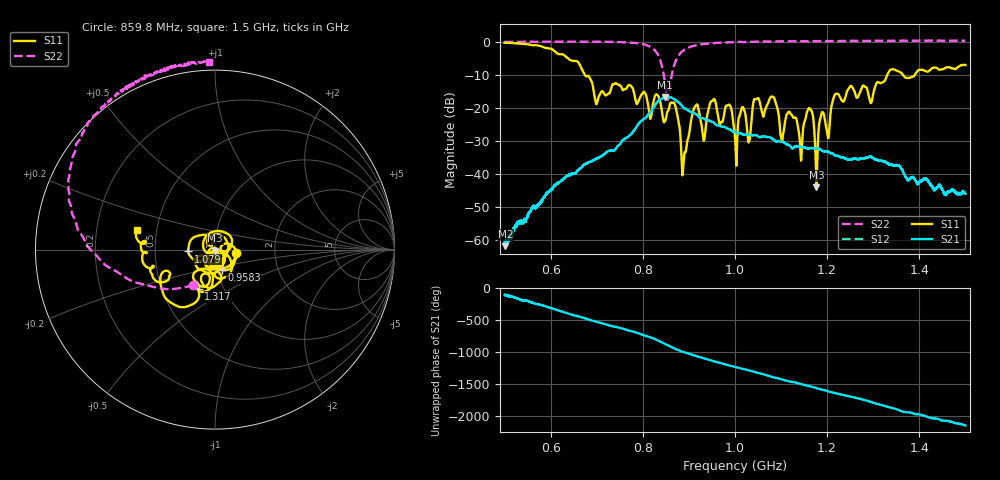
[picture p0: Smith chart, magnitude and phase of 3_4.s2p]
!Keysight Technologies,N5242B,MY48420860,A.13.80.08
!Date: Saturday, September 26, 2020 12:55:24
!Correction: S11(Full 2 Port(1,2))
!S21(Full 2 Port(1,2))
!S12(Full 2 Port(1,2))
!S22(Full 2 Port(1,2))
!S2P File: Measurements: S11, S21, S12, S22:
# Hz S  dB  R 50
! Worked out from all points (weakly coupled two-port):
!   2650 points, 500 MHz to 1.5 GHz, reference 50 ohm
!   highest |S21| = -16.74 dB at 847.7 MHz (marker M1); lowest = -61.9 dB at 501.9 MHz (marker M2)
!   lowest |S11| = -44.1 dB at 1.177 GHz (marker M3), VSWR 1.01, Z = 50.1 - j0.621 ohm
!   |S11| at or under -10 dB: 674.4 MHz to 1.33 GHz (655.9 MHz wide, 65.4 % of centre); 1.365 GHz to 1.39 GHz (25.09 MHz wide, 1.82 % of centre)
!   |S22| runs from -17.6 to 0.4 dB; largest |S21 - S12| = 0.00065
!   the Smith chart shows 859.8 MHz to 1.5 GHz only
!   S11 on the Smith chart (normalised r, x): 859.8 MHz: 1.26, -0.05; 958.3 MHz: 1.05, -0.24; 1.079 GHz: 0.74, -0.02; 1.317 GHz: 0.76, -0.35; 1.5 GHz: 0.39, +0.11
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5e8  -0.24 -166.2  -60.96 -105.7  -60.91 -102.9  0.04 147.8
5.018875e8  -0.26 -167.2  -61.91 -116.8  -61.01 -111.6  0.05 147.7
6.026803e8  -2.16 126.4  -44.46 42.3  -44.69 42.1  0.07 139.8
6.668554e8  -8.02 71.9  -38.09 -96.5  -37.96 -97.1  0.07 133.2
6.99698e8  -18.85 80.6  -35.35 -168.7  -35.33 -168.7  0.05 129.2
8.337108e8  -16.47 6.3  -17.79 -103.2  -17.81 -103.3  -4.14 64.1
8.476784e8  -24.07 4.8  -16.74 -153.8  -16.76 -153.8  -12.00 18.1
8.597584e8  -18.52 -8.7  -16.75 165.9  -16.76 165.7  -12.64 -121.6
8.884485e8  -36.47 -5.0  -19.97 78.5  -19.99 78.3  -2.58 174.1
9.133635e8  -19.56 81.3  -21.78 21.5  -21.81 21.4  -1.07 157.6
9.322386e8  -29.97 7.2  -23.19 -18.9  -23.24 -18.9  -0.67 150.3
9.582861e8  -18.52 -72.1  -25.06 -74.8  -25.09 -74.9  -0.32 143.5
9.888637e8  -19.28 -110.0  -26.55 -134.5  -26.57 -134.6  -0.14 137.9
1.000189e9  -29.34 -143.1  -27.34 -155.4  -27.36 -155.6  -0.06 136.3
1.079086e9  -16.52 -176.0  -29.26 52.7  -29.28 52.8  0.13 126.9
1.142507e9  -34.63 -72.8  -31.81 -60.6  -31.87 -60.4  0.21 121.2
1.166667e9  -21.10 -108.3  -32.12 -104.7  -32.11 -104.9  0.19 118.9
1.176859e9  -44.08 -83.1  -32.23 -124.6  -32.21 -125.0  0.28 118.2
1.218384e9  -15.77 -66.3  -34.49 155.4  -34.46 155.0  0.27 114.9
1.316912e9  -12.48 -112.4  -35.97 -27.4  -35.96 -27.6  0.31 106.8
1.333522e9  -9.16 -115.4  -36.95 -62.6  -37.06 -62.5  0.39 105.5
1.5e9  -7.00 165.9  -46.02 11.0  -45.96 12.1  0.40 91.8
